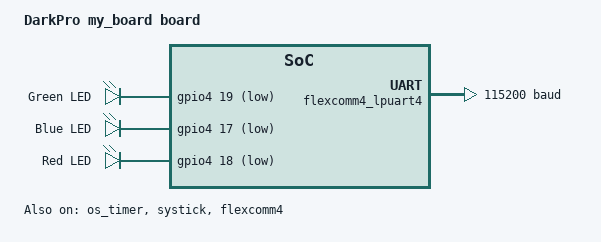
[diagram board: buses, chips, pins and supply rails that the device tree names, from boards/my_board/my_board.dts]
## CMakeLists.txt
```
cmake_minimum_required(VERSION 3.20.0)

list(APPEND BOARD_ROOT ${CMAKE_CURRENT_SOURCE_DIR})
list(APPEND ZEPHYR_EXTRA_MODULES ${CMAKE_CURRENT_SOURCE_DIR}/drivers/my_driver_module)
find_package(Zephyr REQUIRED)
project(Led_Demo)

target_sources(app PRIVATE src/main.c)
```

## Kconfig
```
config APP_HEARTBEAT_PERIOD_MS
    int "APP_HEARTBEAT_PERIOD_MS"
    default 500
    range 100 2000

source "Kconfig.zephyr"
```

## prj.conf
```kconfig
CONFIG_SERIAL=y
CONFIG_UART_MCUX_LPUART=y
CONFIG_CONSOLE=y
CONFIG_UART_CONSOLE=y
CONFIG_PRINTK=y

CONFIG_SENSOR=y
CONFIG_GPIO=y
CONFIG_LOG=y
CONFIG_SENSOR_LOG_LEVEL_INF=y

CONFIG_SHELL=y
```

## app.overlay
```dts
#include <zephyr/dt-bindings/gpio/gpio.h>

/ {
    aliases {
        app-led = &red_led;
    };
};
```

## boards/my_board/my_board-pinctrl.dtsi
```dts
#include <nxp/mcx/mcxn/pinctrl/MCXN236VDF-pinctrl.h>

&pinctrl {
    pinmux_flexcomm4_lpuart: pinmux_flexcomm4_lpuart {
		group0 {
			pinmux = <FC4_P0_PIO1_8>,
				 <FC4_P1_PIO1_9>;
			slew-rate = "fast";
			drive-strength = "low";
			input-enable;
			bias-pull-up;
		};
	};
};
```

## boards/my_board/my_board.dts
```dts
/dts-v1/;

#include <nxp/mcx/mcxn/nxp_mcxn23x.dtsi>
#include "my_board-pinctrl.dtsi"

/ {
    model = "DarkPro my_board board";
	compatible = "DarkPro,my_board";

    chosen {
        zephyr,sram = &sram0;
		zephyr,flash = &flash;
		zephyr,flash-controller = &fmu;
		zephyr,code-partition = &slot0_partition;
		zephyr,console = &flexcomm4_lpuart4;
    };

    aliases {
        led3 = &red_led;
		led1 = &green_led;
		led2 = &blue_led;
    };

    leds {
		compatible = "gpio-leds";

		green_led: led_1 {
			gpios = <&gpio4 19 GPIO_ACTIVE_LOW>;
			label = "Green LED";
		};

		blue_led: led_2 {
			gpios = <&gpio4 17 GPIO_ACTIVE_LOW>;
			label = "Blue LED";
		};

		red_led: led_3 {
			gpios = <&gpio4 18 GPIO_ACTIVE_LOW>;
			label = "Red LED";
		};
	};
};

&gpio4 {
	status = "okay";
};

&os_timer {
	status = "okay";
};

&systick {
	status = "okay";
};

&flexcomm4 {
	status = "okay";
};

&flexcomm4_lpuart4 {
	status = "okay";
};

&flexcomm4_lpuart4 {
	current-speed = <115200>;
	pinctrl-0 = <&pinmux_flexcomm4_lpuart>;
	pinctrl-names = "default";
};

&flash {
	partitions {
		compatible = "fixed-partitions";
		#address-cells = <1>;
		#size-cells = <1>;

		/*
		 * Partition sizes must be aligned
		 * to the flash memory sector size of 8KB.
		 */
		boot_partition: partition@0 {
			label = "mcuboot";
			reg = <0x00000000 DT_SIZE_K(80)>;
		};

		/* For the MCUBoot "upgrade only" method,
		 * the slot sizes must be equal.
		 */
		slot0_partition: partition@14000 {
			label = "image-0";
			reg = <0x00014000 DT_SIZE_K(440)>;
		};

		slot1_partition: partition@84000 {
			label = "image-1";
			reg = <0x0084000 DT_SIZE_K(440)>;
		};

		storage_partition: partition@f0000 {
			label = "storage";
			reg = <0x000f0000 DT_SIZE_K(64)>;
		};
	};
};
```

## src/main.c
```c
#include <zephyr/kernel.h>
#include <zephyr/device.h>
#include <zephyr/drivers/sensor.h>
#include <my_sensor/led_sensor.h>

int main(void)
{
    const struct device *dev = DEVICE_DT_GET(DT_NODELABEL(led_sensor_node));

    if (!device_is_ready(dev))
    {
        printk("Led Sensor not ready...\n");
    }

    printk("LED sensor driver initialized...Changing parameter...Starting loop...\n");

    int newValue = 50;

    while (1)
    {

        led_sensor_set_param(dev, newValue);
        newValue += 10;
        /* Turn LED ON */
        sensor_sample_fetch(dev);
        k_msleep(1000);

        /* Turn LED OFF and read state */
        struct sensor_value val;
        sensor_channel_get(dev, SENSOR_CHAN_ALL, &val);
        printk("Read -> sensor state: %d & sensor custom value: %d\n", val.val1, val.val2);
        k_msleep(1000);
    }

    return 0;
}
```

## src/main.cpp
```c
#include <zephyr/drivers/gpio.h>
#include <zephyr/kernel.h>
#include <zephyr/logging/log.h>
#include <zephyr/random/random.h>

/* The devicetree node identifier for the "led0" alias. */
#define LED_NODE DT_ALIAS(app_led)

static const struct gpio_dt_spec led = GPIO_DT_SPEC_GET(LED_NODE, gpios);

uint32_t sleep_duration = CONFIG_APP_HEARTBEAT_PERIOD_MS;

LOG_MODULE_REGISTER(main, LOG_LEVEL_INF);

int main(void)
{
    bool led_state = true;

    if (!gpio_is_ready_dt(&led))
        return 0;

    if (gpio_pin_configure_dt(&led, GPIO_OUTPUT_ACTIVE) < 0)
        return 0;

    while (1)
    {
        if (gpio_pin_toggle_dt(&led) < 0)
            return 0;

        led_state = !led_state;

        LOG_INF("LED state: %s for %u ms\n", led_state ? "ON" : "OFF", sleep_duration);

        k_msleep(sleep_duration);
    }
    return 0;
}
```
